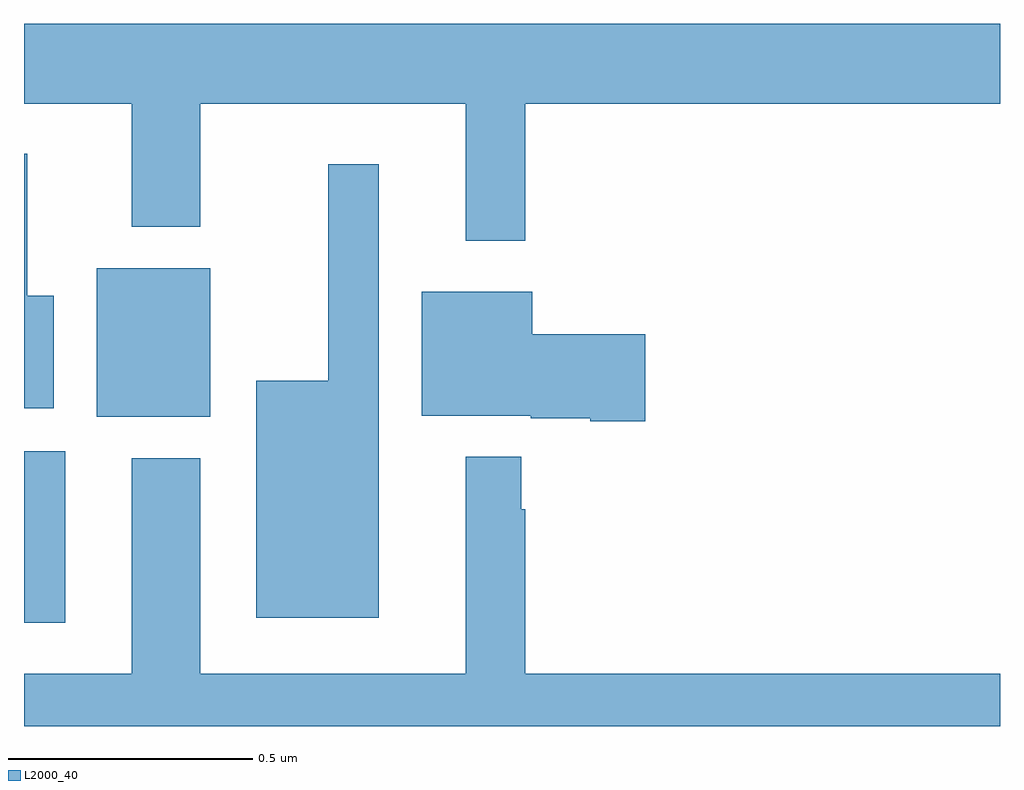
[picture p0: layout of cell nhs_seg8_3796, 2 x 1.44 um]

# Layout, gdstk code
import gdstk
lib = gdstk.Library(unit=1e-6, precision=1e-09)
def R(c, l, rs):  # rectangles x0, y0, x1, y1
    for r in rs: c.add(gdstk.rectangle(r[:2], r[2:], *l))
def P(c, l, *ps):  # polygons
    for p in ps: c.add(gdstk.Polygon(p, *l))
L2000_40 = (2000, 40)

nhs_seg8_3796 = lib.new_cell('nhs_seg8_3796')
R(nhs_seg8_3796, L2000_40, [(162,1106.112,162.085,1106.464), (162.149,1106.534,162.382,1106.839)])
P(nhs_seg8_3796, L2000_40, [(163.027,1107.176),(164,1107.176),(164,1107.34),(162,1107.34),(162,1107.176),(162.221,1107.176),(162.221,1106.924),(162.361,1106.924),(162.361,1107.176),(162.905,1107.176),(162.905,1106.895),(163.027,1106.895)],
  [(162.061,1106.782),(162.007,1106.782),(162.007,1107.073),(162,1107.073),(162,1106.552),(162.061,1106.552)],
  [(162.727,1107.052),(162.623,1107.052),(162.623,1106.608),(162.476,1106.608),(162.476,1106.123),(162.727,1106.123)],
  [(163.273,1106.703),(163.042,1106.703),(163.042,1106.791),(162.815,1106.791),(162.815,1106.537),(163.038,1106.537),(163.038,1106.531),(163.16,1106.531),(163.16,1106.525),(163.273,1106.525)],
  [(164,1106.008),(163.027,1106.008),(163.027,1106.345),(163.019,1106.345),(163.019,1106.452),(162.905,1106.452),(162.905,1106.008),(162.361,1106.008),(162.361,1106.449),(162.221,1106.449),(162.221,1106.008),(162,1106.008),(162,1105.9),(164,1105.9)])

lib.write_gds('nhs_seg8_3796.gds')
